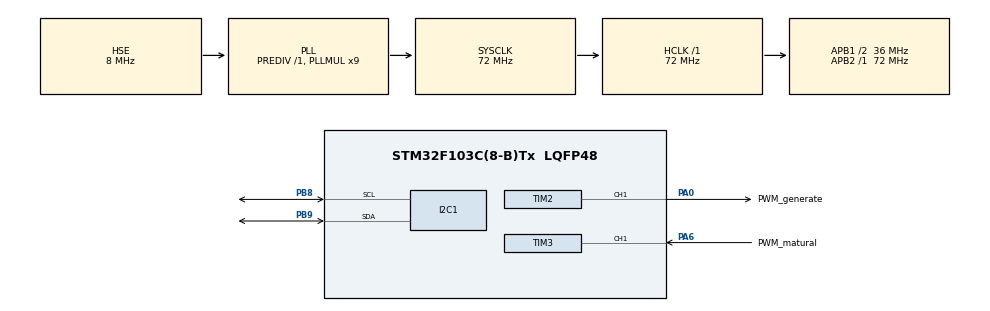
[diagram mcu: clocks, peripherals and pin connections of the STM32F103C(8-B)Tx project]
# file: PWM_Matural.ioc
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I2C1.I2C_Mode=I2C_Fast
I2C1.OwnAddress=0x7a
Mcu.Family=STM32F1
Mcu.Name=STM32F103C(8-B)Tx
Mcu.Package=LQFP48
NVIC.PriorityGroup=NVIC_PRIORITYGROUP_4
NVIC.TIM3_IRQn=true\:0\:0\:false\:false\:true\:true\:true\:true
PA0-WKUP.GPIO_Label=PWM_generate
PA0-WKUP.Signal=S_TIM2_CH1_ETR
PA13.Mode=Serial_Wire
PA13.Signal=SYS_JTMS-SWDIO
PA14.Mode=Serial_Wire
PA14.Signal=SYS_JTCK-SWCLK
PA6.GPIO_Label=PWM_matural
PA6.Signal=S_TIM3_CH1
PB8.Mode=I2C
PB8.Signal=I2C1_SCL
PB9.Mode=I2C
PB9.Signal=I2C1_SDA
PD0-OSC_IN.Mode=HSE-External-Oscillator
PD0-OSC_IN.Signal=RCC_OSC_IN
PD1-OSC_OUT.Mode=HSE-External-Oscillator
PD1-OSC_OUT.Signal=RCC_OSC_OUT
ProjectManager.HeapSize=0x200
ProjectManager.StackSize=0x400
ProjectManager.TargetToolchain=CMake
RCC.AHBFreq_Value=72000000
RCC.APB1CLKDivider=RCC_HCLK_DIV2
RCC.APB1Freq_Value=36000000
RCC.APB1TimFreq_Value=72000000
RCC.APB2Freq_Value=72000000
RCC.APB2TimFreq_Value=72000000
RCC.HCLKFreq_Value=72000000
RCC.PLLMUL=RCC_PLL_MUL9
RCC.PLLSourceVirtual=RCC_PLLSOURCE_HSE
RCC.SYSCLKFreq_VALUE=72000000
RCC.SYSCLKSource=RCC_SYSCLKSOURCE_PLLCLK
RCC.USBFreq_Value=72000000
SH.S_TIM2_CH1_ETR.0=TIM2_CH1,PWM Generation1 CH1
SH.S_TIM3_CH1.0=TIM3_CH1,Input_Capture1_from_TI1
SH.S_TIM3_CH1.1=TIM3_CH1,TriggerSource_TI1FP1
TIM2.AutoReloadPreload=TIM_AUTORELOAD_PRELOAD_ENABLE
TIM2.Channel-PWM\ Generation1\ CH1=TIM_CHANNEL_1
TIM2.Period=999
TIM2.Prescaler=71
TIM3.AutoReloadPreload=TIM_AUTORELOAD_PRELOAD_ENABLE
TIM3.Channel-Input_Capture1_from_TI1=TIM_CHANNEL_1
TIM3.Prescaler=71
VP_TIM2_VS_ClockSourceINT.Mode=Internal
VP_TIM3_VS_ClockSourceINT.Mode=Internal
VP_TIM3_VS_ControllerModeReset.Mode=Reset Mode
board=custom

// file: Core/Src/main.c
/* USER CODE BEGIN Header */
/**
  ******************************************************************************
  * @file           : main.c
  * @brief          : Main program body
  ******************************************************************************
  * @attention
  *
  * Copyright (c) 2026 STMicroelectronics.
  * All rights reserved.
  *
  * This software is licensed under terms that can be found in the LICENSE file
  * in the root directory of this software component.
  * If no LICENSE file comes with this software, it is provided AS-IS.
  *
  ******************************************************************************
  */
/* USER CODE END Header */
#include "main.h"
#include "i2c.h"
#include "tim.h"
#include "gpio.h"
#include "OLED.h"

/* USER CODE BEGIN PD */
#define TIM3_COUNT_FREQ 10000  // TIM3计数频率：10kHz（匹配tim.c的PSC配置）
/* USER CODE END PD */

/* USER CODE BEGIN PV */
uint32_t Freq = 0;            // 初始化频率为0，避免随机值
uint16_t overflow_cnt = 0;    // TIM3溢出次数（关键：解决低频捕获）
/* USER CODE END PV */

void SystemClock_Config(void);

/* USER CODE BEGIN 0 */
// TIM3输入捕获中断回调函数
void HAL_TIM_IC_CaptureCallback(TIM_HandleTypeDef * htim) {
  if (htim->Instance == TIM3) {
    // 读取捕获值（通道1）
    uint16_t capture = HAL_TIM_ReadCapturedValue(htim, TIM_CHANNEL_1);
    // 计算总计数（含溢出），+1修正0开始计数的误差
    uint32_t total_capture = (uint32_t)capture + (uint32_t)overflow_cnt * 65536U + 1;

    // 除0保护：避免程序卡死
    if (total_capture != 0) {
      Freq = TIM3_COUNT_FREQ / total_capture;
    } else {
      Freq = 0;
    }

    // 重置溢出计数，准备下一次捕获
    overflow_cnt = 0;
    // 清除捕获标志，确保下次捕获正常
    __HAL_TIM_CLEAR_FLAG(htim, TIM_FLAG_CC1);
  }
}

// TIM3溢出（更新）中断回调函数（必须加！）
void HAL_TIM_PeriodElapsedCallback(TIM_HandleTypeDef *htim) {
  if (htim->Instance == TIM3) {
    overflow_cnt++;  // 溢出次数+1
    // 防止溢出次数过多导致数值溢出（可选）
    if (overflow_cnt > 100) {
      overflow_cnt = 0;
      Freq = 0;
    }
  }
}
/* USER CODE END 0 */

int main(void)
{

  /* MCU Configuration--------------------------------------------------------*/

  /* Reset of all peripherals, Initializes the Flash interface and the Systick. */
  HAL_Init();

  /* Configure the system clock */
  SystemClock_Config();

  /* Initialize all configured peripherals */
  MX_GPIO_Init();
  MX_I2C1_Init();
  MX_TIM2_Init();
  MX_TIM3_Init();
  /* USER CODE BEGIN 2 */
  OLED_Init();
  OLED_Clear();  // 清屏：避免残留显示

  // 启动TIM2_CH1 PWM输出（有信号才能捕获）
  HAL_TIM_PWM_Start(&htim2, TIM_CHANNEL_1);
  // 启动TIM3_CH1输入捕获中断 + TIM3更新（溢出）中断（双中断都要启动！）
  HAL_TIM_IC_Start_IT(&htim3, TIM_CHANNEL_1);
  HAL_TIM_Base_Start_IT(&htim3);

  // OLED初始化显示
  OLED_ShowString(1,1,"Freq:");
  OLED_ShowString(2,1,"Duty:");
  /* USER CODE END 2 */

  /* Infinite loop */
  /* USER CODE BEGIN WHILE */
  uint8_t duty_dir = 1;  // 占空比调整方向：1=递增，0=递减
  uint32_t duty_val = 50;// 初始占空比50（确保有PWM信号输出）
  while (1)
  {
    /* USER CODE END WHILE */
    // 动态调整PWM占空比（0→99→0循环，确保有信号输出）
    if (duty_dir) {
      duty_val++;
      if (duty_val >= 99) {
        duty_dir = 0;
      }
    } else {
      duty_val--;
      if (duty_val <= 0) {
        duty_dir = 1;
      }
    }
    // 设置TIM2_CH1占空比（关键：输出有效PWM信号）
    __HAL_TIM_SET_COMPARE(&htim2, TIM_CHANNEL_1, duty_val);

    // OLED显示频率（5位）和占空比（2位）
    OLED_ShowNum(1,6,Freq,5);
    OLED_ShowNum(2,6,duty_val,2);

    HAL_Delay(10);  // 调整刷新率，避免OLED刷屏过快
  }
}

void SystemClock_Config(void)
{
  RCC_OscInitTypeDef RCC_OscInitStruct = {0};
  RCC_ClkInitTypeDef RCC_ClkInitStruct = {0};

  /** Initializes the RCC Oscillators according to the specified parameters
  * in the RCC_OscInitTypeDef structure.
  */
  RCC_OscInitStruct.OscillatorType = RCC_OSCILLATORTYPE_HSE;
  RCC_OscInitStruct.HSEState = RCC_HSE_ON;
  RCC_OscInitStruct.HSEPredivValue = RCC_HSE_PREDIV_DIV1;
  RCC_OscInitStruct.HSIState = RCC_HSI_ON;
  RCC_OscInitStruct.PLL.PLLState = RCC_PLL_ON;
  RCC_OscInitStruct.PLL.PLLSource = RCC_PLLSOURCE_HSE;
  RCC_OscInitStruct.PLL.PLLMUL = RCC_PLL_MUL9;
  if (HAL_RCC_OscConfig(&RCC_OscInitStruct) != HAL_OK)
  {
    Error_Handler();
  }

  /** Initializes the CPU, AHB and APB buses clocks
  */
  RCC_ClkInitStruct.ClockType = RCC_CLOCKTYPE_HCLK|RCC_CLOCKTYPE_SYSCLK
                              |RCC_CLOCKTYPE_PCLK1|RCC_CLOCKTYPE_PCLK2;
  RCC_ClkInitStruct.SYSCLKSource = RCC_SYSCLKSOURCE_PLLCLK;
  RCC_ClkInitStruct.AHBCLKDivider = RCC_SYSCLK_DIV1;
  RCC_ClkInitStruct.APB1CLKDivider = RCC_HCLK_DIV2;
  RCC_ClkInitStruct.APB2CLKDivider = RCC_HCLK_DIV1;

  if (HAL_RCC_ClockConfig(&RCC_ClkInitStruct, FLASH_LATENCY_2) != HAL_OK)
  {
    Error_Handler();
  }
}

void Error_Handler(void)
{
  __disable_irq();
  while (1)
  {
  }
}
